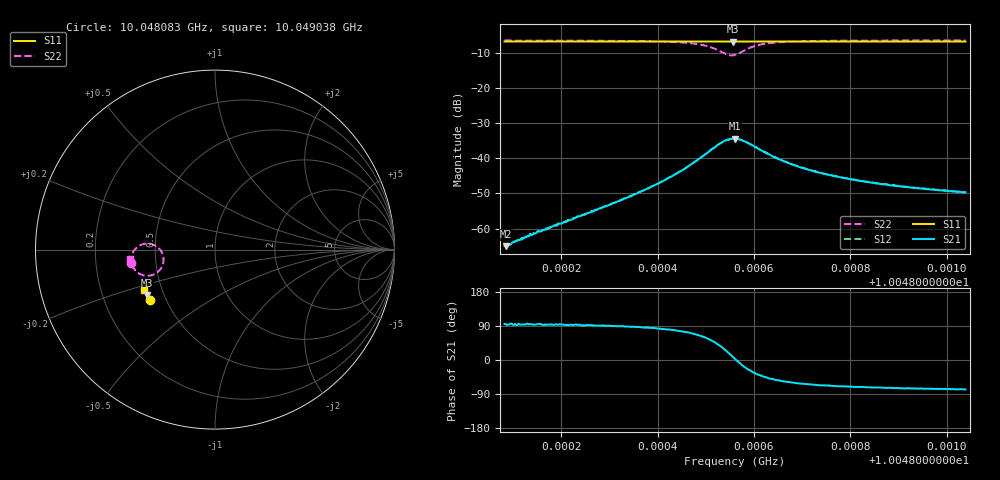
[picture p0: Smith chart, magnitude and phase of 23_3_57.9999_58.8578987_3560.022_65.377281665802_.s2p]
#  HZ  S  RI  R  50.00
! Rohde & Schwarz Vector Network Analyzer
! Rohde-Schwarz,ZNB20-2Port,1311601062101988,3.16
! Created: UTC 3/21/2024, 12:51:17 AM
! freq[Hz]  re:S11  im:S11  re:S21  im:S21  re:S12  im:S12  re:S22  im:S22
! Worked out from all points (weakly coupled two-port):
!   401 points, 10.048083 GHz to 10.049038 GHz, reference 50 ohm
!   highest |S21| = -34.40 dB at 10.048561 GHz (marker M1); lowest = -65.0 dB at 10.048085 GHz (marker M2)
!   lowest |S11| = -6.8 dB at 10.048556 GHz (marker M3), VSWR 2.68, Z = 20.1 - j12.8 ohm
!   |S11| at or under -10 dB: nowhere
!   |S22| runs from -10.7 to -6.5 dB; largest |S21 - S12| = 0.0015
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1.0048083e10  -0.3646 -0.2798  -4.83e-05 0.000563  -6.99e-05 0.000583  -0.4672 -0.0756
1.00480854e10  -0.3645 -0.2796  -5.18e-05 0.00056  -7.97e-05 0.000573  -0.4673 -0.0754
1.00480949e10  -0.365 -0.279  -5.74e-05 0.000585  -9.03e-05 0.000595  -0.4675 -0.0743
1.00481332e10  -0.3665 -0.2768  -5.21e-05 0.000772  -9.71e-05 0.00079  -0.4678 -0.0701
1.00481499e10  -0.3672 -0.2761  -6.82e-05 0.000888  -0.000116 0.000875  -0.4678 -0.0682
1.0048243e10  -0.3709 -0.2707  -3.3e-05 0.00153  -0.000175 0.00156  -0.4676 -0.0558
1.00483147e10  -0.3734 -0.2668  3.76e-05 0.00239  -0.000118 0.00239  -0.4661 -0.043
1.0048403e10  -0.3766 -0.2616  0.000519 0.00439  0.000302 0.00443  -0.4584 -0.0185
1.00484389e10  -0.378 -0.2595  0.00127 0.00591  0.00093 0.00598  -0.4493 -0.00311
1.00484747e10  -0.3791 -0.2573  0.00305 0.00805  0.00264 0.00825  -0.4286 0.0172
1.00485153e10  -0.38 -0.2547  0.00915 0.0105  0.00843 0.0109  -0.3681 0.0334
1.00485392e10  -0.38 -0.2534  0.0157 0.00832  0.015 0.00912  -0.3094 0.00361
1.00485559e10  -0.3801 -0.2529  0.0188 0.00272  0.0184 0.0042  -0.2868 -0.0509
1.00485607e10  -0.3803 -0.2528  0.019 0.000783  0.0188 0.00227  -0.2877 -0.0685
1.00485702e10  -0.3805 -0.2526  0.0184 -0.00255  0.0185 -0.00118  -0.2984 -0.1005
1.00485869e10  -0.3815 -0.2523  0.0151 -0.00671  0.0157 -0.00556  -0.3347 -0.1356
1.00486204e10  -0.3831 -0.2507  0.00894 -0.00863  0.00954 -0.00794  -0.3979 -0.1436
1.00486658e10  -0.3852 -0.2482  0.00487 -0.00749  0.00531 -0.0072  -0.4365 -0.1234
1.00487207e10  -0.3872 -0.2449  0.00285 -0.00601  0.00324 -0.00588  -0.454 -0.103
1.00487876e10  -0.3895 -0.2408  0.00179 -0.00488  0.00212 -0.00483  -0.4627 -0.0862
1.00488807e10  -0.3928 -0.2356  0.00118 -0.00397  0.00143 -0.00396  -0.4677 -0.0703
1.00490383e10  -0.398 -0.2264  0.00069 -0.00322  0.000898 -0.00318  -0.4715 -0.0517
